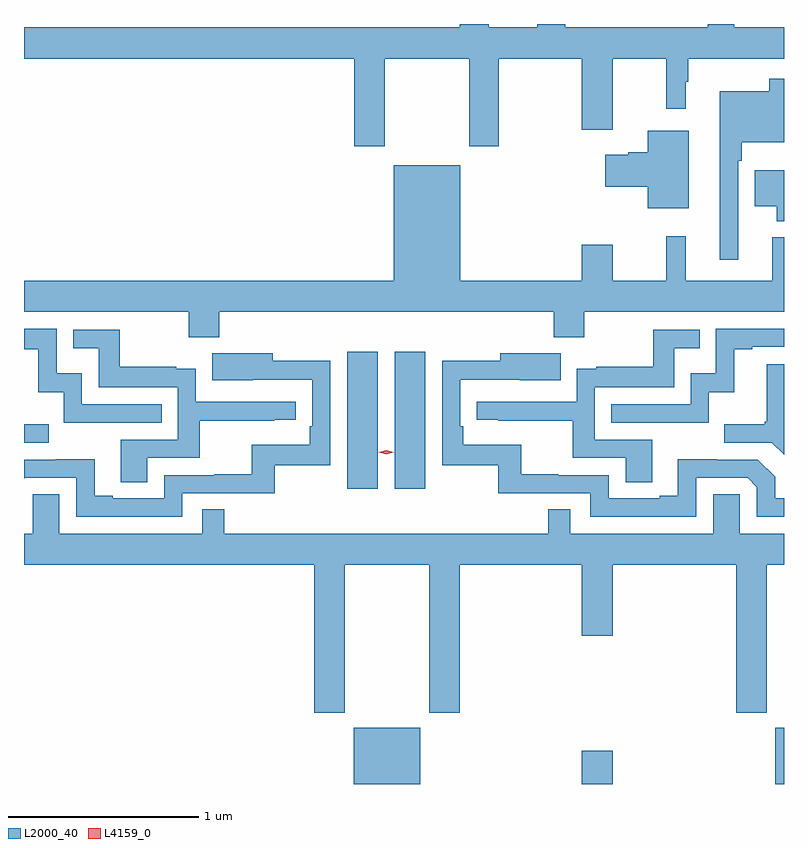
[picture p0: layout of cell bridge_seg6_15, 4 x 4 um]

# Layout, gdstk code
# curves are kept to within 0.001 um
import gdstk
lib = gdstk.Library(unit=1e-6, precision=1e-09)
def R(c, l, rs):  # rectangles x0, y0, x1, y1
    for r in rs: c.add(gdstk.rectangle(r[:2], r[2:], *l))
def P(c, l, *ps):  # polygons
    for p in ps: c.add(gdstk.Polygon(p, *l))
L2000_40 = (2000, 40)
L4159_0 = (4159, 0)

bridge_seg6_15 = lib.new_cell('bridge_seg6_15')
R(bridge_seg6_15, L2000_40, [(990.98,928.866,991.33,929.161), (992.18,928.866,992.344,929.041), (993.2,928.866,993.245,929.161), (990.947,930.42,991.108,931.141), (991.196,930.42,991.357,931.141), (989.245,930.663,989.374,930.76)])
P(bridge_seg6_15, L2000_40, [(992.843,932.866),(992.843,932.848),(992.094,932.848),(992.094,932.866),(991.946,932.866),(991.946,932.848),(991.69,932.848),(991.69,932.866),(991.538,932.866),(991.538,932.848),(989.245,932.848),(989.245,932.684),(990.983,932.684),(990.983,932.223),(991.143,932.223),(991.143,932.684),(991.588,932.684),(991.588,932.223),(991.743,932.223),(991.743,932.684),(992.18,932.684),(992.18,932.31),(992.344,932.31),(992.344,932.684),(992.626,932.684),(992.626,932.421),(992.728,932.421),(992.728,932.561),(992.74,932.561),(992.74,932.684),(993.245,932.684),(993.245,932.848),(992.983,932.848),(992.983,932.866)],
  [(993.003,932.147),(993.023,932.147),(993.023,932.243),(993.245,932.243),(993.245,932.578),(993.168,932.578),(993.168,932.512),(992.906,932.512),(992.906,931.626),(993.003,931.626)],
  [(992.743,932.305),(992.528,932.305),(992.528,932.192),(992.424,932.192),(992.424,932.179),(992.304,932.179),(992.304,932.009),(992.528,932.009),(992.528,931.895),(992.743,931.895)],
  [(990.272,931.352),(992.033,931.352),(992.033,931.217),(992.193,931.217),(992.193,931.352),(993.245,931.352),(993.245,931.744),(993.182,931.744),(993.182,931.516),(992.729,931.516),(992.729,931.75),(992.626,931.75),(992.626,931.516),(992.344,931.516),(992.344,931.705),(992.18,931.705),(992.18,931.516),(991.54,931.516),(991.54,932.122),(991.19,932.122),(991.19,931.516),(989.245,931.516),(989.245,931.352),(990.112,931.352),(990.112,931.217),(990.272,931.217)],
  [(993.245,932.095),(993.092,932.095),(993.092,931.907),(993.206,931.907),(993.206,931.829),(993.245,931.829)],
  [(989.969,930.864),(989.55,930.864),(989.55,931.027),(989.418,931.027),(989.418,931.263),(989.245,931.263),(989.245,931.155),(989.321,931.155),(989.321,930.929),(989.454,930.929),(989.454,930.768),(989.969,930.768)],
  [(992.85,930.929),(992.983,930.929),(992.983,931.155),(993.079,931.155),(993.079,931.167),(993.245,931.167),(993.245,931.263),(992.886,931.263),(992.886,931.027),(992.754,931.027),(992.754,930.864),(992.335,930.864),(992.335,930.768),(992.85,930.768)],
  [(989.893,930.582),(990.17,930.582),(990.17,930.778),(990.563,930.778),(990.563,930.783),(990.676,930.783),(990.676,930.879),(990.15,930.879),(990.15,931.051),(990.047,931.051),(990.047,931.063),(989.749,931.063),(989.749,931.257),(989.503,931.257),(989.503,931.16),(989.638,931.16),(989.638,930.954),(990.054,930.954),(990.054,930.678),(989.753,930.678),(989.753,930.454),(989.893,930.454)],
  [(992.551,930.678),(992.25,930.678),(992.25,930.954),(992.667,930.954),(992.667,931.16),(992.801,931.16),(992.801,931.257),(992.556,931.257),(992.556,931.063),(992.257,931.063),(992.257,931.051),(992.154,931.051),(992.154,930.879),(991.629,930.879),(991.629,930.783),(991.741,930.783),(991.741,930.778),(992.134,930.778),(992.134,930.582),(992.411,930.582),(992.411,930.454),(992.551,930.454)],
  [(992.784,930.477),(993.054,930.477),(993.102,930.429),(993.102,930.273),(993.245,930.273),(993.245,930.369),(993.198,930.369),(993.198,930.483),(993.108,930.573),(992.892,930.573),(992.892,930.575),(992.687,930.575),(992.687,930.382),(992.591,930.382),(992.591,930.369),(992.322,930.369),(992.322,930.492),(992.057,930.492),(992.057,930.497),(991.861,930.497),(991.861,930.652),(991.556,930.652),(991.556,930.748),(991.542,930.748),(991.542,930.993),(992.069,930.992),(992.069,931.132),(991.751,931.132),(991.751,931.094),(991.446,931.094),(991.446,930.543),(991.74,930.543),(991.74,930.396),(992.226,930.396),(992.226,930.273),(992.784,930.273)],
  [(990.078,930.396),(990.565,930.396),(990.565,930.543),(990.858,930.543),(990.858,931.094),(990.553,931.094),(990.553,931.132),(990.235,931.132),(990.235,930.992),(990.762,930.993),(990.762,930.748),(990.749,930.748),(990.749,930.652),(990.444,930.652),(990.444,930.497),(990.247,930.497),(990.247,930.492),(989.982,930.492),(989.982,930.369),(989.713,930.369),(989.713,930.382),(989.617,930.382),(989.617,930.575),(989.412,930.575),(989.412,930.573),(989.245,930.573),(989.245,930.472),(989.25,930.477),(989.52,930.477),(989.52,930.273),(990.078,930.273)],
  [(993.245,931.075),(993.155,931.075),(993.155,930.772),(993.144,930.772),(993.144,930.76),(992.931,930.76),(992.931,930.663),(993.18,930.663),(993.245,930.598)],
  [(990.933,930.02),(991.378,930.02),(991.378,929.241),(991.538,929.241),(991.538,930.02),(992.18,930.02),(992.18,929.646),(992.344,929.646),(992.344,930.02),(992.993,930.02),(992.993,929.241),(993.153,929.241),(993.153,930.02),(993.245,930.02),(993.245,930.184),(993.012,930.184),(993.012,930.392),(992.873,930.392),(992.873,930.184),(992.121,930.184),(992.121,930.311),(992.005,930.311),(992.005,930.184),(990.299,930.184),(990.299,930.311),(990.183,930.311),(990.183,930.184),(989.431,930.184),(989.431,930.392),(989.292,930.392),(989.292,930.184),(989.245,930.184),(989.245,930.02),(990.773,930.02),(990.773,929.241),(990.933,929.241)])
P(bridge_seg6_15, L4159_0, [(991.152,930.602),(991.112,930.612),(991.112,930.612),(991.112,930.612),(991.152,930.622),(991.192,930.612),(991.192,930.612),(991.192,930.612)])

lib.write_gds('bridge_seg6_15.gds')
